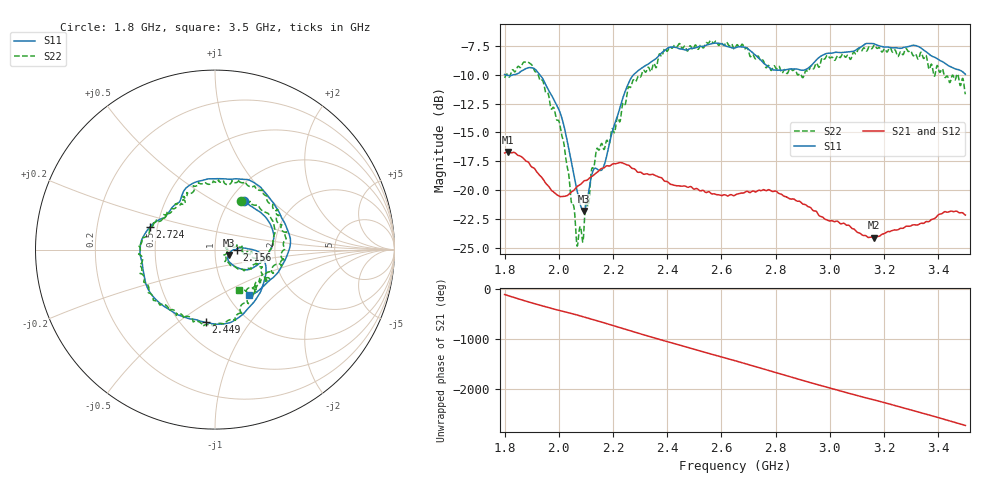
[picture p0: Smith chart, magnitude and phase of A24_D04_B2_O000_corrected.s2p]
! Created with skrf 1.9.0 (http://scikit-rf.org).
# Hz S RI R 50.0
!freq ReS11 ImS11 ReS21 ImS21 ReS12 ImS12 ReS22 ImS22
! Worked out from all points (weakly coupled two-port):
!   1601 points, 1.8 GHz to 3.5 GHz, reference 50 ohm
!   highest |S21| = -16.69 dB at 1.812 GHz (marker M1); lowest = -24.1 dB at 3.162 GHz (marker M2)
!   lowest |S11| = -21.8 dB at 2.091 GHz (marker M3), VSWR 1.18, Z = 58 - j3.52 ohm
!   |S11| at or under -10 dB: 1.802 GHz to 1.834 GHz (32.31 MHz wide, 1.78 % of centre); 1.93 GHz to 2.276 GHz (345.5 MHz wide, 16.4 % of centre)
!   |S22| runs from -24.9 to -7.0 dB; largest |S21 - S12| = 0.0023
!   S11 on the Smith chart (normalised r, x): 1.8 GHz: 1.15, +0.70; 2.156 GHz: 1.28, -0.00; 2.449 GHz: 0.65, -0.64; 2.724 GHz: 0.45, +0.13; 3.5 GHz: 1.25, -0.71
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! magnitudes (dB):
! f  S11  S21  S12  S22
! 1.8 GHz  -10.0  -16.8  -16.8  -10.3
! 1.812 GHz  -10.1  -16.7  -16.7  -10.0
! 1.882 GHz  -9.4  -17.5  -17.5  -8.9
! 1.941 GHz  -10.4  -19.0  -19.0  -10.5
! 2.01 GHz  -13.7  -20.6  -20.5  -15.2
! 2.066 GHz  -19.9  -19.7  -19.7  -24.5
! 2.084 GHz  -21.5  -19.4  -19.4  -23.7
! 2.091 GHz  -21.8  -19.2  -19.3  -24.0
! 2.126 GHz  -18.3  -18.7  -18.7  -18.1
! 2.156 GHz  -18.3  -18.1  -18.1  -16.0
! 2.186 GHz  -16.1  -17.9  -17.9  -16.0
! 2.261 GHz  -10.5  -17.9  -17.9  -11.1
! 2.367 GHz  -8.4  -18.8  -18.8  -8.5
! 2.449 GHz  -7.8  -19.6  -19.6  -7.4
! 2.65 GHz  -7.7  -20.4  -20.4  -7.8
! 2.724 GHz  -8.3  -20.2  -20.1  -8.6
! 2.796 GHz  -9.6  -20.1  -20.1  -9.2
! 2.934 GHz  -9.2  -21.6  -21.6  -9.3
! 3.162 GHz  -7.3  -24.1  -24.1  -7.5
! 3.217 GHz  -7.6  -23.6  -23.6  -7.7
! 3.342 GHz  -7.8  -22.9  -22.8  -8.4
! 3.5 GHz  -10.0  -22.2  -22.1  -11.7
